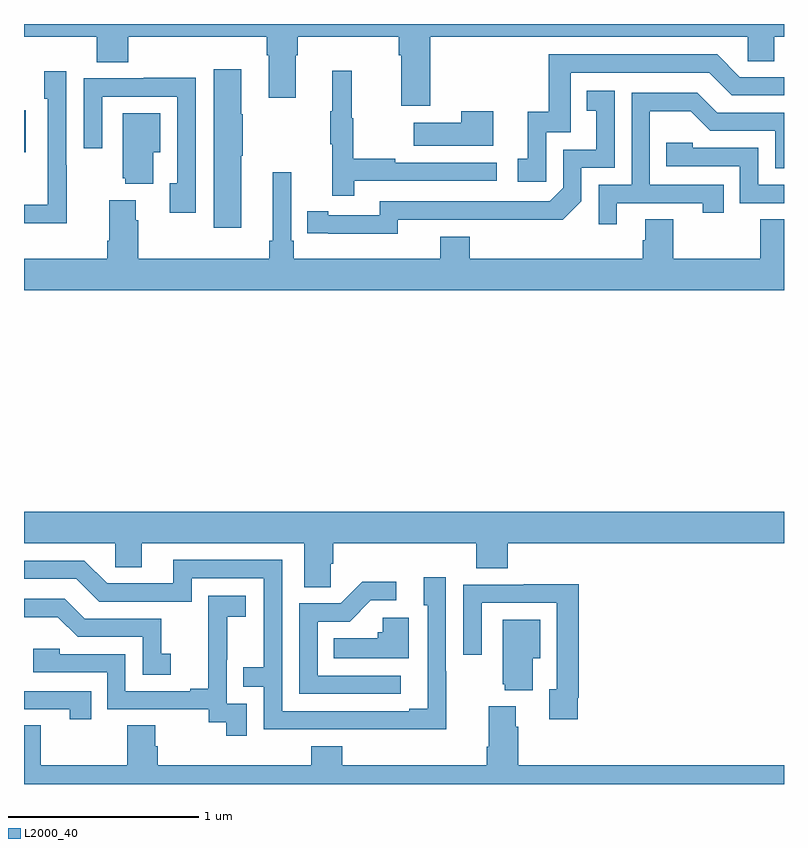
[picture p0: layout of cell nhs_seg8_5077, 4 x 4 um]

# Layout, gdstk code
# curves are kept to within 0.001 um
import gdstk
lib = gdstk.Library(unit=1e-6, precision=1e-09)
def R(c, l, rs):  # rectangles x0, y0, x1, y1
    for r in rs: c.add(gdstk.rectangle(r[:2], r[2:], *l))
def P(c, l, *ps):  # polygons
    for p in ps: c.add(gdstk.Polygon(p, *l))
L2000_40 = (2000, 40)

nhs_seg8_5077 = lib.new_cell('nhs_seg8_5077')
R(nhs_seg8_5077, L2000_40, [(417,1117.226,417.01,1117.445)])
P(nhs_seg8_5077, L2000_40, [(417,1117.832),(417.383,1117.832),(417.383,1117.699),(417.548,1117.699),(417.548,1117.832),(418.277,1117.832),(418.277,1117.736),(418.289,1117.736),(418.289,1117.512),(418.429,1117.512),(418.429,1117.736),(418.442,1117.736),(418.442,1117.832),(418.973,1117.832),(418.973,1117.736),(418.985,1117.736),(418.985,1117.47),(419.138,1117.47),(419.138,1117.832),(420.81,1117.832),(420.81,1117.705),(420.949,1117.705),(420.949,1117.832),(421,1117.832),(421,1117.9),(417,1117.9)],
  [(419.748,1117.329),(419.877,1117.329),(419.877,1117.644),(420.606,1117.644),(420.726,1117.524),(421,1117.524),(421,1117.62),(420.768,1117.62),(420.648,1117.74),(419.761,1117.74),(419.761,1117.438),(419.651,1117.438),(419.651,1117.191),(419.598,1117.191),(419.598,1117.071),(419.748,1117.071)],
  [(418.144,1117.207),(418.152,1117.207),(418.152,1117.424),(418.144,1117.424),(418.144,1117.663),(417.998,1117.663),(417.998,1116.828),(418.144,1116.828)],
  [(418.739,1117.074),(419.488,1117.074),(419.488,1117.17),(418.955,1117.17),(418.955,1117.19),(418.732,1117.19),(418.732,1117.404),(418.724,1117.404),(418.724,1117.654),(418.622,1117.654),(418.622,1117.441),(418.611,1117.441),(418.611,1117.267),(418.622,1117.267),(418.622,1116.996),(418.739,1116.996)],
  [(417.225,1117.157),(417.222,1117.157),(417.222,1117.651),(417.107,1117.651),(417.107,1117.506),(417.126,1117.506),(417.126,1116.948),(417,1116.948),(417,1116.851),(417.225,1116.851)],
  [(417.903,1117.616),(417.631,1117.616),(417.631,1117.614),(417.315,1117.614),(417.315,1117.245),(417.411,1117.245),(417.411,1117.518),(417.807,1117.518),(417.807,1117.062),(417.767,1117.062),(417.767,1116.906),(417.903,1116.906)],
  [(418.968,1116.87),(419.836,1116.869),(419.934,1116.966),(419.934,1117.143),(420.108,1117.143),(420.108,1117.549),(419.962,1117.549),(419.962,1117.443),(420.011,1117.443),(420.011,1117.239),(419.838,1117.239),(419.838,1117.038),(419.766,1116.966),(418.872,1116.966),(418.872,1116.894),(418.6,1116.894),(418.6,1116.914),(418.492,1116.914),(418.492,1116.798),(418.968,1116.797)],
  [(420.121,1116.957),(420.572,1116.957),(420.572,1116.906),(420.683,1116.906),(420.683,1117.053),(420.294,1117.053),(420.294,1117.442),(420.508,1117.442),(420.612,1117.338),(420.954,1117.338),(420.954,1117.14),(421,1117.14),(421,1117.434),(420.649,1117.434),(420.544,1117.539),(420.198,1117.539),(420.198,1117.053),(420.024,1117.053),(420.024,1116.846),(420.121,1116.846)],
  [(419.47,1117.441),(419.3,1117.441),(419.3,1117.381),(419.051,1117.381),(419.051,1117.259),(419.47,1117.259)],
  [(417.679,1117.226),(417.718,1117.226),(417.718,1117.429),(417.521,1117.429),(417.521,1117.089),(417.533,1117.089),(417.533,1117.058),(417.679,1117.058)],
  [(421,1117.053),(420.864,1117.053),(420.864,1117.248),(420.519,1117.248),(420.519,1117.275),(420.379,1117.275),(420.379,1117.152),(420.768,1117.152),(420.768,1116.957),(421,1116.957)],
  [(421,1116.872),(420.874,1116.872),(420.874,1116.664),(420.417,1116.664),(420.417,1116.872),(420.269,1116.872),(420.269,1116.762),(420.257,1116.762),(420.257,1116.664),(419.345,1116.664),(419.345,1116.781),(419.192,1116.781),(419.192,1116.664),(418.421,1116.664),(418.421,1116.76),(418.407,1116.76),(418.407,1117.12),(418.31,1117.12),(418.31,1116.76),(418.291,1116.76),(418.291,1116.664),(417.602,1116.664),(417.602,1116.866),(417.589,1116.866),(417.589,1116.973),(417.449,1116.973),(417.449,1116.76),(417.437,1116.76),(417.437,1116.664),(417,1116.664),(417,1116.5),(421,1116.5)],
  [(418.614,1115.059),(418.628,1115.059),(418.628,1115.168),(419.381,1115.168),(419.381,1115.035),(419.546,1115.035),(419.546,1115.168),(421,1115.168),(421,1115.332),(417,1115.332),(417,1115.168),(417.48,1115.168),(417.48,1115.041),(417.619,1115.041),(417.619,1115.168),(418.475,1115.168),(418.475,1114.936),(418.614,1114.936)],
  [(419.223,1114.493),(419.22,1114.493),(419.22,1114.987),(419.105,1114.987),(419.105,1114.842),(419.124,1114.842),(419.124,1114.297),(419.027,1114.297),(419.027,1114.284),(418.359,1114.284),(418.359,1115.079),(417.785,1115.079),(417.785,1114.956),(417.438,1114.956),(417.318,1115.076),(417,1115.076),(417,1114.98),(417.276,1114.98),(417.396,1114.86),(417.882,1114.86),(417.882,1114.983),(418.263,1114.983),(418.263,1114.514),(418.153,1114.514),(418.153,1114.413),(418.263,1114.413),(418.263,1114.188),(419.223,1114.187)],
  [(418.984,1114.47),(418.545,1114.47),(418.545,1114.755),(418.714,1114.755),(418.825,1114.866),(418.96,1114.866),(418.96,1114.964),(418.781,1114.964),(418.668,1114.851),(418.449,1114.851),(418.449,1114.374),(418.984,1114.374)],
  [(419.914,1114.354),(419.921,1114.354),(419.921,1114.952),(419.629,1114.952),(419.629,1114.95),(419.313,1114.95),(419.313,1114.581),(419.409,1114.581),(419.409,1114.854),(419.805,1114.854),(419.805,1114.398),(419.765,1114.398),(419.765,1114.242),(419.914,1114.242)],
  [(418.173,1114.323),(418.068,1114.323),(418.068,1114.553),(418.07,1114.553),(418.07,1114.781),(418.168,1114.781),(418.168,1114.891),(417.97,1114.891),(417.97,1114.685),(417.971,1114.685),(417.971,1114.402),(417.875,1114.402),(417.875,1114.389),(417.534,1114.389),(417.534,1114.584),(417.189,1114.584),(417.189,1114.611),(417.049,1114.611),(417.049,1114.488),(417.438,1114.488),(417.438,1114.293),(417.972,1114.293),(417.972,1114.225),(418.065,1114.225),(418.065,1114.155),(418.173,1114.155)],
  [(417.772,1114.585),(417.723,1114.585),(417.723,1114.77),(417.319,1114.77),(417.214,1114.875),(417,1114.875),(417,1114.778),(417.178,1114.778),(417.282,1114.674),(417.624,1114.674),(417.624,1114.476),(417.772,1114.476)],
  [(419.026,1114.774),(418.887,1114.774),(418.887,1114.698),(418.861,1114.698),(418.861,1114.666),(418.63,1114.666),(418.63,1114.562),(419.026,1114.562)],
  [(419.677,1114.562),(419.716,1114.562),(419.716,1114.765),(419.519,1114.765),(419.519,1114.425),(419.531,1114.425),(419.531,1114.394),(419.677,1114.394)],
  [(417.353,1114.389),(417,1114.389),(417,1114.293),(417.242,1114.293),(417.242,1114.242),(417.353,1114.242)],
  [(421,1114),(419.6,1114),(419.6,1114.202),(419.587,1114.202),(419.587,1114.309),(419.447,1114.309),(419.447,1114.096),(419.435,1114.096),(419.435,1114),(418.676,1114),(418.676,1114.099),(418.511,1114.099),(418.511,1114),(417.704,1114),(417.704,1114.098),(417.691,1114.098),(417.691,1114.208),(417.544,1114.208),(417.544,1114),(417.087,1114),(417.087,1114.208),(417,1114.208),(417,1113.9),(421,1113.9)])

lib.write_gds('nhs_seg8_5077.gds')
